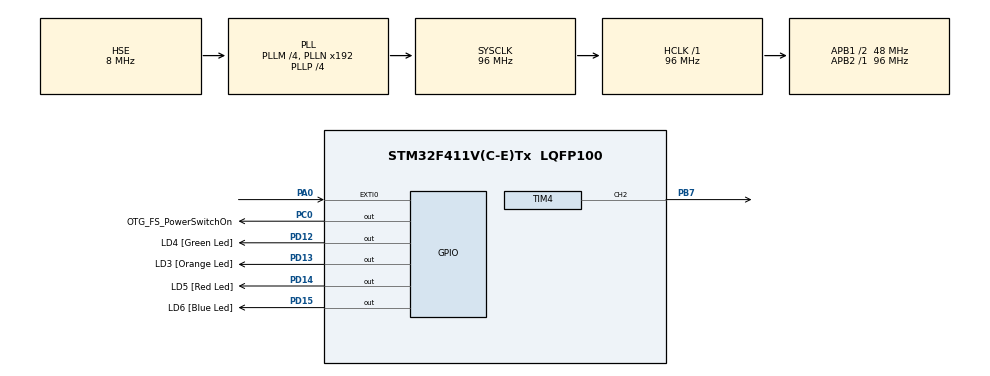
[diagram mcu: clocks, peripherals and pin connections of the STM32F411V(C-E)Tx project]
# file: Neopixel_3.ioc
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Dma.Request0=TIM4_CH2
Dma.TIM4_CH2.0.Direction=DMA_MEMORY_TO_PERIPH
Dma.TIM4_CH2.0.FIFOMode=DMA_FIFOMODE_DISABLE
Dma.TIM4_CH2.0.Instance=DMA1_Stream3
Dma.TIM4_CH2.0.MemDataAlignment=DMA_MDATAALIGN_HALFWORD
Dma.TIM4_CH2.0.MemInc=DMA_MINC_ENABLE
Dma.TIM4_CH2.0.Mode=DMA_NORMAL
Dma.TIM4_CH2.0.PeriphDataAlignment=DMA_PDATAALIGN_HALFWORD
Dma.TIM4_CH2.0.PeriphInc=DMA_PINC_DISABLE
Dma.TIM4_CH2.0.Priority=DMA_PRIORITY_HIGH
Mcu.Family=STM32F4
Mcu.Name=STM32F411V(C-E)Tx
Mcu.Package=LQFP100
NVIC.DMA1_Stream3_IRQn=true\:0\:0\:false\:false\:true\:false\:true\:true
NVIC.PriorityGroup=NVIC_PRIORITYGROUP_0
NVIC.TIM3_IRQn=true\:0\:0\:false\:false\:true\:true\:true\:true
NVIC.TIM4_IRQn=true\:0\:0\:false\:false\:true\:true\:true\:true
PA0-WKUP.GPIO_ModeDefaultEXTI=GPIO_MODE_EVT_RISING
PA0-WKUP.Signal=GPXTI0
PA13.GPIO_Label=SWDIO
PA13.Mode=Serial_Wire
PA13.Signal=SYS_JTMS-SWDIO
PA14.GPIO_Label=SWCLK
PA14.Mode=Serial_Wire
PA14.Signal=SYS_JTCK-SWCLK
PB7.Signal=S_TIM4_CH2
PC0.GPIO_Label=OTG_FS_PowerSwitchOn
PC0.PinState=GPIO_PIN_SET
PC0.Signal=GPIO_Output
PC14-OSC32_IN.GPIO_Label=PC14-OSC32_IN
PC14-OSC32_IN.Mode=LSE-External-Oscillator
PC14-OSC32_IN.Signal=RCC_OSC32_IN
PC15-OSC32_OUT.GPIO_Label=PC15-OSC32_OUT
PC15-OSC32_OUT.Mode=LSE-External-Oscillator
PC15-OSC32_OUT.Signal=RCC_OSC32_OUT
PD12.GPIO_Label=LD4 [Green Led]
PD12.GPIO_PuPd=GPIO_NOPULL
PD12.GPIO_Speed=GPIO_SPEED_FREQ_LOW
PD12.Signal=GPIO_Output
PD13.GPIO_Label=LD3 [Orange Led]
PD13.GPIO_PuPd=GPIO_NOPULL
PD13.GPIO_Speed=GPIO_SPEED_FREQ_LOW
PD13.Signal=GPIO_Output
PD14.GPIO_Label=LD5 [Red Led]
PD14.GPIO_PuPd=GPIO_NOPULL
PD14.GPIO_Speed=GPIO_SPEED_FREQ_LOW
PD14.Signal=GPIO_Output
PD15.GPIO_Label=LD6 [Blue Led]
PD15.GPIO_PuPd=GPIO_NOPULL
PD15.GPIO_Speed=GPIO_SPEED_FREQ_LOW
PD15.Signal=GPIO_Output
PH0\ -\ OSC_IN.GPIO_Label=PH0-OSC_IN
PH0\ -\ OSC_IN.Mode=HSE-External-Oscillator
PH0\ -\ OSC_IN.Signal=RCC_OSC_IN
PH1\ -\ OSC_OUT.GPIO_Label=PH1-OSC_OUT
PH1\ -\ OSC_OUT.Mode=HSE-External-Oscillator
PH1\ -\ OSC_OUT.Signal=RCC_OSC_OUT
ProjectManager.HeapSize=0x200
ProjectManager.StackSize=0x400
ProjectManager.TargetToolchain=STM32CubeIDE
RCC.48MHZClocksFreq_Value=48000000
RCC.AHBFreq_Value=96000000
RCC.APB1CLKDivider=RCC_HCLK_DIV2
RCC.APB1Freq_Value=48000000
RCC.APB1TimFreq_Value=96000000
RCC.APB2Freq_Value=96000000
RCC.APB2TimFreq_Value=96000000
RCC.CortexFreq_Value=96000000
RCC.HCLKFreq_Value=96000000
RCC.HSE_VALUE=8000000
RCC.HSI_VALUE=16000000
RCC.PLLI2SM=5
RCC.PLLI2SN=200
RCC.PLLM=4
RCC.PLLP=RCC_PLLP_DIV4
RCC.PLLQ=8
RCC.PLLSourceVirtual=RCC_PLLSOURCE_HSE
RCC.SYSCLKFreq_VALUE=96000000
RCC.SYSCLKSource=RCC_SYSCLKSOURCE_PLLCLK
RCC.VCOOutputFreq_Value=384000000
SH.S_TIM4_CH2.0=TIM4_CH2,PWM Generation2 CH2
TIM3.Period=332-1
TIM3.Prescaler=48000
TIM4.Channel-PWM\ Generation2\ CH2=TIM_CHANNEL_2
TIM4.Period=120-1
VP_TIM3_VS_ClockSourceINT.Mode=Internal
VP_TIM4_VS_ClockSourceINT.Mode=Internal
board=STM32F411E-DISCO

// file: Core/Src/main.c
/* USER CODE BEGIN Header */
/**
  ******************************************************************************
  * @file           : main.c
  * @brief          : Main program body
  ******************************************************************************
  * @attention
  *
  * Copyright (c) 2022 STMicroelectronics.
  * All rights reserved.
  *
  * This software is licensed under terms that can be found in the LICENSE file
  * in the root directory of this software component.
  * If no LICENSE file comes with this software, it is provided AS-IS.
  *
  ******************************************************************************
  */
/* USER CODE END Header */
#include "main.h"

/* USER CODE BEGIN Includes */
#include <stdio.h>
#include <stdlib.h>
#include <math.h>
/* USER CODE END Includes */

/* USER CODE BEGIN PTD */
//Defino el valor para el ciclo activo del cero y el uno
//Se escriben en el capture compare register o pulse
#define Neopixel_cero 38
#define Neopixel_uno 76
//Ahora veo la cantidad de pixels, osea ,leds, de mi matriz
#define Num_pixels 128
// Por cada uno tengo que enviar 24 bits mas 50 us de cero
#define DMA_BUFF_SIZE (Num_pixels*24+50)

//La idea es armar un arreglo de datos de 24 bits, 8 por cada color GRB, para mandar
typedef union Datos_shift
{
	//Hacer con aritmetrica de puntero
	uint32_t Datos32;
	uint16_t Datos16[2];
	uint8_t Datos8[4];
} datos;
uint8_t banda1=1;
uint8_t banda2=1;
uint8_t banda3=1;
uint8_t banda4=1;
/* USER CODE END PTD */

TIM_HandleTypeDef htim3;
TIM_HandleTypeDef htim4;
DMA_HandleTypeDef hdma_tim4_ch2;

void SystemClock_Config(void);
static void MX_GPIO_Init(void);
static void MX_DMA_Init(void);
static void MX_TIM3_Init(void);
static void MX_TIM4_Init(void);

/* USER CODE BEGIN 0 */
volatile int flag_envio_datos = 0;
/*
void HAL_TIM_PWM_PulseFinishedCallback(TIM_HandleTypeDef *htim)
{
//No lo detenemos porque eso estaba dando un error pero dejamos la funcion
//HAL_TIM_PWM_Stop_DMA (&htim1, TIM_CHANNEL_1);
	flag_envio_datos = 1;

}
*/

uint16_t pwmDatos[DMA_BUFF_SIZE] = {0};
uint8_t Datos_Pixel[Num_pixels][4];
uint8_t Datos_Pixel_F[Num_pixels][4];

//Me armo una funcion que setee cada LED por separado
void Set_Pixel(uint8_t n, uint8_t Verde, uint8_t Rojo, uint8_t Azul)
{
	Datos_Pixel[n][0] = n;
	Datos_Pixel[n][1] = Verde;
	Datos_Pixel[n][2] = Rojo;
	Datos_Pixel[n][3] = Azul;

}

//Me armo una funcion que controle el brillo
//float brillo=100; //La manejo en porcentaje
//encontre que es mejor manejarse con una funcion con curva suave. Uso la tangente

float brillo= 45;
void Set_Brillo(float brillo){
	if(brillo>45) brillo = 45;
	for(int i=0;i<Num_pixels;i++)
	{
		Datos_Pixel_F[i][0] = Datos_Pixel[i][0];
		for(int j=1;j<4;j++)
		{
			float angulo = 90 - brillo;
			angulo = angulo*3.14/180;
			Datos_Pixel_F[i][j] = Datos_Pixel[i][j]/(tan(angulo));
		}
	}

}

//Me armo una función que envíe los datos desde DMA a neopixeles

void Enviar_datos (void)
{
// Para el programa final trabajar a 24 fps
	//uint32_t datos;
	uint16_t Prueba_pwmDatos = 0;
	datos datos;
	uint16_t index = 0;

	for (int i = 0; i<Num_pixels; i++)
	{
		//si no funciona tambien deberia andar el codigo siguiente
		datos.Datos8[0]=Datos_Pixel_F[i][3];
		datos.Datos8[1]=Datos_Pixel_F[i][2];
		datos.Datos8[2]=Datos_Pixel_F[i][1];

		//datos = ((Datos_Pixel_F[i][1]<<16) | (Datos_Pixel_F[i][2]<<8)|(Datos_Pixel_F[i][3]));

		for (int i = 23; i>=0; i--)
		{

			if (datos.Datos32&(1<<i) ) pwmDatos[index] = Neopixel_uno; //ver counter&(1<<j)
			else pwmDatos[index] = Neopixel_cero;
			Prueba_pwmDatos = pwmDatos[index];
			index++;

		}

	}

	for (int i=0; i<50;i++)
	{
		pwmDatos[index] = 0;
		index++;
		Prueba_pwmDatos = pwmDatos[index];
	}

	//Envio la informacion con esta funcion de la HAL

		if(HAL_TIM_PWM_Start_DMA(&htim4, TIM_CHANNEL_2,(uint32_t *)pwmDatos,index)!=HAL_OK)
			{
			Error_Handler();
			};
/*
		while(!flag_envio_datos){}; //Cambiarlo por un if
		flag_envio_datos=0;
*/
		//Aca va la otra opcion de modificar directamente el registro "Pulse"
	/*for (int i = Num_pixels-1; i>=0;i--)
	 * {
	 *    TIM2->CCR1 = pwmDatos[i]
	 * }
	 *Tambien se puede cambiar el duty cicle de PWM con __HAL_TIM_SetCompare(__HANDLE__,__CHANNEL__;__COMPARE__)
	 *Y cambiar el periodo de PWM con __HAL_TIM_SetAutoreload(__HANBLE__,__AUTORELOAD__)
	 *
	 */
	/*
	Acordarse de cambiar la función de carga al TIM2 para PWM por DMA para hacerla por
	Interrupciones. De esa forma podemos procesar informacion durante los tiempo
	muertos de envio de datos. El HAL_TIM_PWM_Start_DMA dice que es no bloqueante
	*/
	}
//Me genero la función para las bandas del vumetro}
//Ver como es el recorrido de las luces en la matriz led, por lo que vi
//en el arcoiris estan conectados los bordes
//la comento porque no va a tener sentido todavia si no estan todos los valores
//declarados. Es para la funcion final
//Toma un valor entero sin signo para la intensidad de las bandas
void vumetro(uint8_t banda1,uint8_t banda2,uint8_t banda3,uint8_t banda4,uint8_t banda5,uint8_t banda6,uint8_t banda7,uint8_t banda8){

//void vumetro(uint8_t banda1,uint8_t banda2,uint8_t banda3,uint8_t banda4){
//Hay que tener en cuenta que cada banda del vumetro son dos de la matriz, pero
//por como se recorre una esta invertida
//colores: violeta, rosa, azul, dos verdes, amarillo, dos rojos
int numled=0;

switch(banda1){
case 1||0:
	Set_Pixel(0+numled,76,0,153);
	for(uint16_t j=1;j<=7;j++){
		Set_Pixel(j+numled,0,0,0);
	}
	Set_Pixel(8+numled,76,0,153);
	for(uint16_t j=9;j<=15;j++){
		Set_Pixel(j+numled,0,0,0);
	}
	break;
case 2:
	Set_Pixel(0+numled,0,76,153);
	Set_Pixel(1+numled,0,153,153);
	for(uint16_t j=2;j<=7;j++){
		Set_Pixel(j+numled,0,0,0);
	}
	Set_Pixel(8+numled,0,76,153);
	Set_Pixel(9+numled,0,153,153);
	for(uint16_t j=10;j<=15;j++){
		Set_Pixel(j+numled,0,0,0);
	}
	break;

case 3:
	Set_Pixel(0+numled,0,76,153);
	Set_Pixel(1+numled,0,153,153);
	Set_Pixel(2+numled,102,0,204);
	for(uint16_t j=3;j<=7;j++){
		Set_Pixel(j+numled,0,0,0);
	}
	Set_Pixel(8+numled,0,76,153);
	Set_Pixel(9+numled,0,153,153);
	Set_Pixel(10+numled,102,0,204);
	for(uint16_t j=11;j<=15;j++){
		Set_Pixel(j+numled,0,0,0);
	}
	break;
case 4:
	Set_Pixel(0+numled,0,76,153);
	Set_Pixel(1+numled,0,153,153);
	Set_Pixel(2+numled,102,0,204);
	Set_Pixel(3+numled,204,0,0);
	for(uint16_t j=4;j<=7;j++){
		Set_Pixel(j+numled,0,0,0);
	}
	Set_Pixel(8+numled,0,76,153);
	Set_Pixel(9+numled,0,153,153);
	Set_Pixel(10+numled,102,0,204);
	Set_Pixel(11+numled,204,0,0);
	for(uint16_t j=12;j<=15;j++){
		Set_Pixel(j+numled,0,0,0);
	}
	break;
case 5:
	Set_Pixel(0+numled,0,76,153);
	Set_Pixel(1+numled,0,153,153);
	Set_Pixel(2+numled,102,0,204);
	Set_Pixel(3+numled,204,0,0);
	Set_Pixel(4+numled,204,0,0);
	for(uint16_t j=5;j<=7;j++){
		Set_Pixel(j+numled,0,0,0);
	}
	Set_Pixel(8+numled,0,76,153);
	Set_Pixel(9+numled,0,153,153);
	Set_Pixel(10+numled,102,0,204);
	Set_Pixel(11+numled,204,0,0);
	Set_Pixel(12+numled,204,0,0);
	for(uint16_t j=13;j<=15;j++){
		Set_Pixel(j+numled,0,0,0);
	}
	break;
case 6:
	Set_Pixel(0+numled,0,76,153);
	Set_Pixel(1+numled,0,153,153);
	Set_Pixel(2+numled,102,0,204);
	Set_Pixel(3+numled,204,0,0);
	Set_Pixel(4+numled,204,0,0);
	Set_Pixel(5+numled,255,255,51);
	for(uint16_t j=6;j<=7;j++){
		Set_Pixel(j+numled,0,0,0);
	}
	Set_Pixel(8+numled,0,76,153);
	Set_Pixel(9+numled,0,153,153);
	Set_Pixel(10+numled,102,0,204);
	Set_Pixel(11+numled,204,0,0);
	Set_Pixel(12+numled,204,0,0);
	Set_Pixel(13+numled,255,255,51);
	for(uint16_t j=14;j<=15;j++){
		Set_Pixel(j+numled,0,0,0);
	}
	break;
case 7:
	Set_Pixel(0+numled,0,76,153);
	Set_Pixel(1+numled,0,153,153);
	Set_Pixel(2+numled,102,0,204);
	Set_Pixel(3+numled,204,0,0);
	Set_Pixel(4+numled,204,0,0);
	Set_Pixel(5+numled,255,255,51);
	Set_Pixel(6+numled,0,204,0);
	Set_Pixel(7+numled,0,0,0);
	Set_Pixel(8+numled,0,76,153);
	Set_Pixel(9+numled,0,153,153);
	Set_Pixel(10+numled,102,0,204);
	Set_Pixel(11+numled,204,0,0);
	Set_Pixel(12+numled,204,0,0);
	Set_Pixel(13+numled,255,255,51);
	Set_Pixel(14+numled,0,204,0);
	Set_Pixel(15+numled,0,0,0);
	break;
default:
	Set_Pixel(0+numled,0,76,153);
	Set_Pixel(1+numled,0,153,153);
	Set_Pixel(2+numled,102,0,204);
	Set_Pixel(3+numled,204,0,0);
	Set_Pixel(4+numled,204,0,0);
	Set_Pixel(5+numled,255,255,51);
	Set_Pixel(6+numled,0,204,0);
	Set_Pixel(7+numled,0,204,0);
	Set_Pixel(8+numled,0,76,153);
	Set_Pixel(9+numled,0,153,153);
	Set_Pixel(10+numled,102,0,204);
	Set_Pixel(11+numled,204,0,0);
	Set_Pixel(12+numled,204,0,0);
	Set_Pixel(13+numled,255,255,51);
	Set_Pixel(14+numled,0,204,0);
	Set_Pixel(15+numled,0,204,0);
	break;
}

numled=16;
switch(banda2){
case 1||0:
	Set_Pixel(0+numled,76,0,153);
	for(uint16_t j=1;j<=7;j++){
		Set_Pixel(j+numled,0,0,0);
	}
	Set_Pixel(8+numled,76,0,153);
	for(uint16_t j=9;j<=15;j++){
		Set_Pixel(j+numled,0,0,0);
	}
	break;
case 2:
	Set_Pixel(0+numled,0,76,153);
	Set_Pixel(1+numled,0,153,153);
	for(uint16_t j=2;j<=7;j++){
		Set_Pixel(j+numled,0,0,0);
	}
	Set_Pixel(8+numled,0,76,153);
	Set_Pixel(9+numled,0,153,153);
	for(uint16_t j=10;j<=15;j++){
		Set_Pixel(j+numled,0,0,0);
	}
	break;

case 3:
	Set_Pixel(0+numled,0,76,153);
	Set_Pixel(1+numled,0,153,153);
	Set_Pixel(2+numled,102,0,204);
	for(uint16_t j=3;j<=7;j++){
		Set_Pixel(j+numled,0,0,0);
	}
	Set_Pixel(8+numled,0,76,153);
	Set_Pixel(9+numled,0,153,153);
	Set_Pixel(10+numled,102,0,204);
	for(uint16_t j=11;j<=15;j++){
		Set_Pixel(j+numled,0,0,0);
	}
	break;
case 4:
	Set_Pixel(0+numled,0,76,153);
	Set_Pixel(1+numled,0,153,153);
	Set_Pixel(2+numled,102,0,204);
	Set_Pixel(3+numled,204,0,0);
	for(uint16_t j=4;j<=7;j++){
		Set_Pixel(j+numled,0,0,0);
	}
	Set_Pixel(8+numled,0,76,153);
	Set_Pixel(9+numled,0,153,153);
	Set_Pixel(10+numled,102,0,204);
	Set_Pixel(11+numled,204,0,0);
	for(uint16_t j=12;j<=15;j++){
		Set_Pixel(j+numled,0,0,0);
	}
	break;
case 5:
	Set_Pixel(0+numled,0,76,153);
	Set_Pixel(1+numled,0,153,153);
	Set_Pixel(2+numled,102,0,204);
	Set_Pixel(3+numled,204,0,0);
	Set_Pixel(4+numled,204,0,0);
	for(uint16_t j=5;j<=7;j++){
		Set_Pixel(j+numled,0,0,0);
	}
	Set_Pixel(8+numled,0,76,153);
	Set_Pixel(9+numled,0,153,153);
	Set_Pixel(10+numled,102,0,204);
	Set_Pixel(11+numled,204,0,0);
	Set_Pixel(12+numled,204,0,0);
	for(uint16_t j=13;j<=15;j++){
		Set_Pixel(j+numled,0,0,0);
	}
	break;
case 6:
	Set_Pixel(0+numled,0,76,153);
	Set_Pixel(1+numled,0,153,153);
	Set_Pixel(2+numled,102,0,204);
	Set_Pixel(3+numled,204,0,0);
	Set_Pixel(4+numled,204,0,0);
	Set_Pixel(5+numled,255,255,51);
	for(uint16_t j=6;j<=7;j++){
		Set_Pixel(j+numled,0,0,0);
	}
	Set_Pixel(8+numled,0,76,153);
	Set_Pixel(9+numled,0,153,153);
	Set_Pixel(10+numled,102,0,204);
	Set_Pixel(11+numled,204,0,0);
	Set_Pixel(12+numled,204,0,0);
	Set_Pixel(13+numled,255,255,51);
	for(uint16_t j=14;j<=15;j++){
		Set_Pixel(j+numled,0,0,0);
	}
	break;
case 7:
	Set_Pixel(0+numled,0,76,153);
	Set_Pixel(1+numled,0,153,153);
	Set_Pixel(2+numled,102,0,204);
	Set_Pixel(3+numled,204,0,0);
	Set_Pixel(4+numled,204,0,0);
	Set_Pixel(5+numled,255,255,51);
	Set_Pixel(6+numled,0,204,0);
	Set_Pixel(7+numled,0,0,0);
	Set_Pixel(8+numled,0,76,153);
	Set_Pixel(9+numled,0,153,153);
	Set_Pixel(10+numled,102,0,204);
	Set_Pixel(11+numled,204,0,0);
	Set_Pixel(12+numled,204,0,0);
	Set_Pixel(13+numled,255,255,51);
	Set_Pixel(14+numled,0,204,0);
	Set_Pixel(15+numled,0,0,0);
	break;
default:
	Set_Pixel(0+numled,0,76,153);
	Set_Pixel(1+numled,0,153,153);
	Set_Pixel(2+numled,102,0,204);
	Set_Pixel(3+numled,204,0,0);
	Set_Pixel(4+numled,204,0,0);
	Set_Pixel(5+numled,255,255,51);
	Set_Pixel(6+numled,0,204,0);
	Set_Pixel(7+numled,0,204,0);
	Set_Pixel(8+numled,0,76,153);
	Set_Pixel(9+numled,0,153,153);
	Set_Pixel(10+numled,102,0,204);
	Set_Pixel(11+numled,204,0,0);
	Set_Pixel(12+numled,204,0,0);
	Set_Pixel(13+numled,255,255,51);
	Set_Pixel(14+numled,0,204,0);
	Set_Pixel(15+numled,0,204,0);
	break;
}

numled=32;
switch(banda3){
case 1||0:
	Set_Pixel(0+numled,76,0,153);
	for(uint16_t j=1;j<=7;j++){
		Set_Pixel(j+numled,0,0,0);
	}
	Set_Pixel(8+numled,76,0,153);
	for(uint16_t j=9;j<=15;j++){
		Set_Pixel(j+numled,0,0,0);
	}
	break;
case 2:
	Set_Pixel(0+numled,0,76,153);
	Set_Pixel(1+numled,0,153,153);
	for(uint16_t j=2;j<=7;j++){
		Set_Pixel(j+numled,0,0,0);
	}
	Set_Pixel(8+numled,0,76,153);
	Set_Pixel(9+numled,0,153,153);
	for(uint16_t j=10;j<=15;j++){
		Set_Pixel(j+numled,0,0,0);
	}
	break;

case 3:
	Set_Pixel(0+numled,0,76,153);
	Set_Pixel(1+numled,0,153,153);
	Set_Pixel(2+numled,102,0,204);
	for(uint16_t j=3;j<=7;j++){
		Set_Pixel(j+numled,0,0,0);
	}
	Set_Pixel(8+numled,0,76,153);
	Set_Pixel(9+numled,0,153,153);
	Set_Pixel(10+numled,102,0,204);
	for(uint16_t j=11;j<=15;j++){
		Set_Pixel(j+numled,0,0,0);
	}
	break;
case 4:
	Set_Pixel(0+numled,0,76,153);
	Set_Pixel(1+numled,0,153,153);
	Set_Pixel(2+numled,102,0,204);
	Set_Pixel(3+numled,204,0,0);
	for(uint16_t j=4;j<=7;j++){
		Set_Pixel(j+numled,0,0,0);
	}
	Set_Pixel(8+numled,0,76,153);
	Set_Pixel(9+numled,0,153,153);
	Set_Pixel(10+numled,102,0,204);
	Set_Pixel(11+numled,204,0,0);
	for(uint16_t j=12;j<=15;j++){
		Set_Pixel(j+numled,0,0,0);
	}
	break;
case 5:
	Set_Pixel(0+numled,0,76,153);
	Set_Pixel(1+numled,0,153,153);
	Set_Pixel(2+numled,102,0,204);
	Set_Pixel(3+numled,204,0,0);
	Set_Pixel(4+numled,204,0,0);
	for(uint16_t j=5;j<=7;j++){
		Set_Pixel(j+numled,0,0,0);
	}
	Set_Pixel(8+numled,0,76,153);
	Set_Pixel(9+numled,0,153,153);
	Set_Pixel(10+numled,102,0,204);
	Set_Pixel(11+numled,204,0,0);
	Set_Pixel(12+numled,204,0,0);
	for(uint16_t j=13;j<=15;j++){
		Set_Pixel(j+numled,0,0,0);
	}
	break;
case 6:
	Set_Pixel(0+numled,0,76,153);
	Set_Pixel(1+numled,0,153,153);
	Set_Pixel(2+numled,102,0,204);
	Set_Pixel(3+numled,204,0,0);
	Set_Pixel(4+numled,204,0,0);
	Set_Pixel(5+numled,255,255,51);
	for(uint16_t j=6;j<=7;j++){
		Set_Pixel(j+numled,0,0,0);
	}
	Set_Pixel(8+numled,0,76,153);
	Set_Pixel(9+numled,0,153,153);
	Set_Pixel(10+numled,102,0,204);
	Set_Pixel(11+numled,204,0,0);
	Set_Pixel(12+numled,204,0,0);
	Set_Pixel(13+numled,255,255,51);
	for(uint16_t j=14;j<=15;j++){
		Set_Pixel(j+numled,0,0,0);
	}
	break;
case 7:
	Set_Pixel(0+numled,0,76,153);
	Set_Pixel(1+numled,0,153,153);
	Set_Pixel(2+numled,102,0,204);
	Set_Pixel(3+numled,204,0,0);
	Set_Pixel(4+numled,204,0,0);
	Set_Pixel(5+numled,255,255,51);
	Set_Pixel(6+numled,0,204,0);
	Set_Pixel(7+numled,0,0,0);
	Set_Pixel(8+numled,0,76,153);
	Set_Pixel(9+numled,0,153,153);
	Set_Pixel(10+numled,102,0,204);
	Set_Pixel(11+numled,204,0,0);
	Set_Pixel(12+numled,204,0,0);
	Set_Pixel(13+numled,255,255,51);
	Set_Pixel(14+numled,0,204,0);
	Set_Pixel(15+numled,0,0,0);
	break;
default:
	Set_Pixel(0+numled,0,76,153);
	Set_Pixel(1+numled,0,153,153);
	Set_Pixel(2+numled,102,0,204);
	Set_Pixel(3+numled,204,0,0);
	Set_Pixel(4+numled,204,0,0);
	Set_Pixel(5+numled,255,255,51);
	Set_Pixel(6+numled,0,204,0);
	Set_Pixel(7+numled,0,204,0);
	Set_Pixel(8+numled,0,76,153);
	Set_Pixel(9+numled,0,153,153);
	Set_Pixel(10+numled,102,0,204);
	Set_Pixel(11+numled,204,0,0);
	Set_Pixel(12+numled,204,0,0);
	Set_Pixel(13+numled,255,255,51);
	Set_Pixel(14+numled,0,204,0);
	Set_Pixel(15+numled,0,204,0);
	break;
}

numled=48;
switch(banda4){
case 1||0:
	Set_Pixel(0+numled,76,0,153);
	for(uint16_t j=1;j<=7;j++){
		Set_Pixel(j+numled,0,0,0);
	}
	Set_Pixel(8+numled,76,0,153);
	for(uint16_t j=9;j<=15;j++){
		Set_Pixel(j+numled,0,0,0);
	}
	break;
case 2:
	Set_Pixel(0+numled,0,76,153);
	Set_Pixel(1+numled,0,153,153);
	for(uint16_t j=2;j<=7;j++){
		Set_Pixel(j+numled,0,0,0);
	}
	Set_Pixel(8+numled,0,76,153);
	Set_Pixel(9+numled,0,153,153);
	for(uint16_t j=10;j<=15;j++){
		Set_Pixel(j+numled,0,0,0);
	}
	break;

case 3:
	Set_Pixel(0+numled,0,76,153);
	Set_Pixel(1+numled,0,153,153);
	Set_Pixel(2+numled,102,0,204);
	for(uint16_t j=3;j<=7;j++){
		Set_Pixel(j+numled,0,0,0);
	}
	Set_Pixel(8+numled,0,76,153);
	Set_Pixel(9+numled,0,153,153);
	Set_Pixel(10+numled,102,0,204);
	for(uint16_t j=11;j<=15;j++){
		Set_Pixel(j+numled,0,0,0);
	}
	break;
case 4:
	Set_Pixel(0+numled,0,76,153);
	Set_Pixel(1+numled,0,153,153);
	Set_Pixel(2+numled,102,0,204);
	Set_Pixel(3+numled,204,0,0);
	for(uint16_t j=4;j<=7;j++){
		Set_Pixel(j+numled,0,0,0);
	}
	Set_Pixel(8+numled,0,76,153);
	Set_Pixel(9+numled,0,153,153);
	Set_Pixel(10+numled,102,0,204);
	Set_Pixel(11+numled,204,0,0);
	for(uint16_t j=12;j<=15;j++){
		Set_Pixel(j+numled,0,0,0);
	}
	break;
case 5:
	Set_Pixel(0+numled,0,76,153);
	Set_Pixel(1+numled,0,153,153);
	Set_Pixel(2+numled,102,0,204);
	Set_Pixel(3+numled,204,0,0);
	Set_Pixel(4+numled,204,0,0);
	for(uint16_t j=5;j<=7;j++){
		Set_Pixel(j+numled,0,0,0);
	}
	Set_Pixel(8+numled,0,76,153);
	Set_Pixel(9+numled,0,153,153);
	Set_Pixel(10+numled,102,0,204);
	Set_Pixel(11+numled,204,0,0);
	Set_Pixel(12+numled,204,0,0);
	for(uint16_t j=13;j<=15;j++){
		Set_Pixel(j+numled,0,0,0);
	}
	break;
case 6:
	Set_Pixel(0+numled,0,76,153);
	Set_Pixel(1+numled,0,153,153);
	Set_Pixel(2+numled,102,0,204);
	Set_Pixel(3+numled,204,0,0);
	Set_Pixel(4+numled,204,0,0);
	Set_Pixel(5+numled,255,255,51);
	for(uint16_t j=6;j<=7;j++){
		Set_Pixel(j+numled,0,0,0);
	}
	Set_Pixel(8+numled,0,76,153);
	Set_Pixel(9+numled,0,153,153);
	Set_Pixel(10+numled,102,0,204);
	Set_Pixel(11+numled,204,0,0);
	Set_Pixel(12+numled,204,0,0);
	Set_Pixel(13+numled,255,255,51);
	for(uint16_t j=14;j<=15;j++){
		Set_Pixel(j+numled,0,0,0);
	}
	break;
case 7:
	Set_Pixel(0+numled,0,76,153);
	Set_Pixel(1+numled,0,153,153);
	Set_Pixel(2+numled,102,0,204);
	Set_Pixel(3+numled,204,0,0);
	Set_Pixel(4+numled,204,0,0);
	Set_Pixel(5+numled,255,255,51);
	Set_Pixel(6+numled,0,204,0);
	Set_Pixel(7+numled,0,0,0);
	Set_Pixel(8+numled,0,76,153);
	Set_Pixel(9+numled,0,153,153);
	Set_Pixel(10+numled,102,0,204);
	Set_Pixel(11+numled,204,0,0);
	Set_Pixel(12+numled,204,0,0);
	Set_Pixel(13+numled,255,255,51);
	Set_Pixel(14+numled,0,204,0);
	Set_Pixel(15+numled,0,0,0);
	break;
default:
	Set_Pixel(0+numled,0,76,153);
	Set_Pixel(1+numled,0,153,153);
	Set_Pixel(2+numled,102,0,204);
	Set_Pixel(3+numled,204,0,0);
	Set_Pixel(4+numled,204,0,0);
	Set_Pixel(5+numled,255,255,51);
	Set_Pixel(6+numled,0,204,0);
	Set_Pixel(7+numled,0,204,0);
	Set_Pixel(8+numled,0,76,153);
	Set_Pixel(9+numled,0,153,153);
	Set_Pixel(10+numled,102,0,204);
	Set_Pixel(11+numled,204,0,0);
	Set_Pixel(12+numled,204,0,0);
	Set_Pixel(13+numled,255,255,51);
	Set_Pixel(14+numled,0,204,0);
	Set_Pixel(15+numled,0,204,0);
	break;
}

numled=64;
switch(banda5){
case 1:
	Set_Pixel(0+numled,76,0,153);
	for(uint16_t j=1;j<=7;j++){
		Set_Pixel(j+numled,0,0,0);
	}
	Set_Pixel(8+numled,76,0,153);
	for(uint16_t j=9;j<=15;j++){
		Set_Pixel(j+numled,0,0,0);
	}
	break;
case 2:
	Set_Pixel(0+numled,0,76,153);
	Set_Pixel(1+numled,0,153,153);
	for(uint16_t j=2;j<=7;j++){
		Set_Pixel(j+numled,0,0,0);
	}
	Set_Pixel(8+numled,0,76,153);
	Set_Pixel(9+numled,0,153,153);
	for(uint16_t j=10;j<=15;j++){
		Set_Pixel(j+numled,0,0,0);
	}
	break;

case 3:
	Set_Pixel(0+numled,0,76,153);
	Set_Pixel(1+numled,0,153,153);
	Set_Pixel(2+numled,102,0,204);
	for(uint16_t j=3;j<=7;j++){
		Set_Pixel(j+numled,0,0,0);
	}
	Set_Pixel(8+numled,0,76,153);
	Set_Pixel(9+numled,0,153,153);
	Set_Pixel(10+numled,102,0,204);
	for(uint16_t j=11;j<=15;j++){
		Set_Pixel(j+numled,0,0,0);
	}
	break;
case 4:
	Set_Pixel(0+numled,0,76,153);
	Set_Pixel(1+numled,0,153,153);
	Set_Pixel(2+numled,102,0,204);
	Set_Pixel(3+numled,204,0,0);
	for(uint16_t j=4;j<=7;j++){
		Set_Pixel(j+numled,0,0,0);
	}
	Set_Pixel(8+numled,0,76,153);
	Set_Pixel(9+numled,0,153,153);
	Set_Pixel(10+numled,102,0,204);
	Set_Pixel(11+numled,204,0,0);
	for(uint16_t j=12;j<=15;j++){
		Set_Pixel(j+numled,0,0,0);
	}
	break;
case 5:
	Set_Pixel(0+numled,0,76,153);
	Set_Pixel(1+numled,0,153,153);
	Set_Pixel(2+numled,102,0,204);
	Set_Pixel(3+numled,204,0,0);
	Set_Pixel(4+numled,204,0,0);
	for(uint16_t j=5;j<=7;j++){
		Set_Pixel(j+numled,0,0,0);
	}
	Set_Pixel(8+numled,0,76,153);
	Set_Pixel(9+numled,0,153,153);
	Set_Pixel(10+numled,102,0,204);
	Set_Pixel(11+numled,204,0,0);
	Set_Pixel(12+numled,204,0,0);
	for(uint16_t j=13;j<=15;j++){
		Set_Pixel(j+numled,0,0,0);
	}
	break;
case 6:
	Set_Pixel(0+numled,0,76,153);
	Set_Pixel(1+numled,0,153,153);
	Set_Pixel(2+numled,102,0,204);
	Set_Pixel(3+numled,204,0,0);
	Set_Pixel(4+numled,204,0,0);
	Set_Pixel(5+numled,255,255,51);
	for(uint16_t j=6;j<=7;j++){
		Set_Pixel(j+numled,0,0,0);
	}
	Set_Pixel(8+numled,0,76,153);
	Set_Pixel(9+numled,0,153,153);
	Set_Pixel(10+numled,102,0,204);
	Set_Pixel(11+numled,204,0,0);
	Set_Pixel(12+numled,204,0,0);
	Set_Pixel(13+numled,255,255,51);
	for(uint16_t j=14;j<=15;j++){
		Set_Pixel(j+numled,0,0,0);
	}
	break;
case 7:
	Set_Pixel(0+numled,0,76,153);
	Set_Pixel(1+numled,0,153,153);
	Set_Pixel(2+numled,102,0,204);
	Set_Pixel(3+numled,204,0,0);
	Set_Pixel(4+numled,204,0,0);
	Set_Pixel(5+numled,255,255,51);
	Set_Pixel(6+numled,0,204,0);
	Set_Pixel(7+numled,0,0,0);
	Set_Pixel(8+numled,0,76,153);
	Set_Pixel(9+numled,0,153,153);
	Set_Pixel(10+numled,102,0,204);
	Set_Pixel(11+numled,204,0,0);
	Set_Pixel(12+numled,204,0,0);
	Set_Pixel(13+numled,255,255,51);
	Set_Pixel(14+numled,0,204,0);
	Set_Pixel(15+numled,0,0,0);
	break;
case 8:
	Set_Pixel(0+numled,0,76,153);
	Set_Pixel(1+numled,0,153,153);
	Set_Pixel(2+numled,102,0,204);
	Set_Pixel(3+numled,204,0,0);
	Set_Pixel(4+numled,204,0,0);
	Set_Pixel(5+numled,255,255,51);
	Set_Pixel(6+numled,0,204,0);
	Set_Pixel(7+numled,0,204,0);
	Set_Pixel(8+numled,0,76,153);
	Set_Pixel(9+numled,0,153,153);
	Set_Pixel(10+numled,102,0,204);
	Set_Pixel(11+numled,204,0,0);
	Set_Pixel(12+numled,204,0,0);
	Set_Pixel(13+numled,255,255,51);
	Set_Pixel(14+numled,0,204,0);
	Set_Pixel(15+numled,0,204,0);
	break;
}

numled=80;
switch(banda6){
case 1:
	Set_Pixel(0+numled,76,0,153);
	for(uint16_t j=1;j<=7;j++){
		Set_Pixel(j+numled,0,0,0);
	}
	Set_Pixel(8+numled,76,0,153);
	for(uint16_t j=9;j<=15;j++){
		Set_Pixel(j+numled,0,0,0);
	}
	break;
case 2:
	Set_Pixel(0+numled,0,76,153);
	Set_Pixel(1+numled,0,153,153);
	for(uint16_t j=2;j<=7;j++){
		Set_Pixel(j+numled,0,0,0);
	}
	Set_Pixel(8+numled,0,76,153);
	Set_Pixel(9+numled,0,153,153);
	for(uint16_t j=10;j<=15;j++){
		Set_Pixel(j+numled,0,0,0);
	}
	break;

case 3:
	Set_Pixel(0+numled,0,76,153);
	Set_Pixel(1+numled,0,153,153);
	Set_Pixel(2+numled,102,0,204);
	for(uint16_t j=3;j<=7;j++){
		Set_Pixel(j+numled,0,0,0);
	}
	Set_Pixel(8+numled,0,76,153);
	Set_Pixel(9+numled,0,153,153);
	Set_Pixel(10+numled,102,0,204);
	for(uint16_t j=11;j<=15;j++){
		Set_Pixel(j+numled,0,0,0);
	}
	break;
case 4:
	Set_Pixel(0+numled,0,76,153);
	Set_Pixel(1+numled,0,153,153);
	Set_Pixel(2+numled,102,0,204);
	Set_Pixel(3+numled,204,0,0);
	for(uint16_t j=4;j<=7;j++){
		Set_Pixel(j+numled,0,0,0);
	}
	Set_Pixel(8+numled,0,76,153);
	Set_Pixel(9+numled,0,153,153);
	Set_Pixel(10+numled,102,0,204);
	Set_Pixel(11+numled,204,0,0);
	for(uint16_t j=12;j<=15;j++){
		Set_Pixel(j+numled,0,0,0);
	}
	break;
case 5:
	Set_Pixel(0+numled,0,76,153);
	Set_Pixel(1+numled,0,153,153);
	Set_Pixel(2+numled,102,0,204);
	Set_Pixel(3+numled,204,0,0);
	Set_Pixel(4+numled,204,0,0);
	for(uint16_t j=5;j<=7;j++){
		Set_Pixel(j+numled,0,0,0);
	}
	Set_Pixel(8+numled,0,76,153);
	Set_Pixel(9+numled,0,153,153);
	Set_Pixel(10+numled,102,0,204);
	Set_Pixel(11+numled,204,0,0);
	Set_Pixel(12+numled,204,0,0);
	for(uint16_t j=13;j<=15;j++){
		Set_Pixel(j+numled,0,0,0);
	}
	break;
case 6:
	Set_Pixel(0+numled,0,76,153);
	Set_Pixel(1+numled,0,153,153);
	Set_Pixel(2+numled,102,0,204);
	Set_Pixel(3+numled,204,0,0);
	Set_Pixel(4+numled,204,0,0);
	Set_Pixel(5+numled,255,255,51);
	for(uint16_t j=6;j<=7;j++){
		Set_Pixel(j+numled,0,0,0);
	}
	Set_Pixel(8+numled,0,76,153);
	Set_Pixel(9+numled,0,153,153);
	Set_Pixel(10+numled,102,0,204);
	Set_Pixel(11+numled,204,0,0);
	Set_Pixel(12+numled,204,0,0);
	Set_Pixel(13+numled,255,255,51);
	for(uint16_t j=14;j<=15;j++){
		Set_Pixel(j+numled,0,0,0);
	}
	break;
case 7:
	Set_Pixel(0+numled,0,76,153);
	Set_Pixel(1+numled,0,153,153);
	Set_Pixel(2+numled,102,0,204);
	Set_Pixel(3+numled,204,0,0);
	Set_Pixel(4+numled,204,0,0);
	Set_Pixel(5+numled,255,255,51);
	Set_Pixel(6+numled,0,204,0);
	Set_Pixel(7+numled,0,0,0);
	Set_Pixel(8+numled,0,76,153);
	Set_Pixel(9+numled,0,153,153);
	Set_Pixel(10+numled,102,0,204);
	Set_Pixel(11+numled,204,0,0);
	Set_Pixel(12+numled,204,0,0);
	Set_Pixel(13+numled,255,255,51);
	Set_Pixel(14+numled,0,204,0);
	Set_Pixel(15+numled,0,0,0);
	break;
case 8:
	Set_Pixel(0+numled,0,76,153);
	Set_Pixel(1+numled,0,153,153);
	Set_Pixel(2+numled,102,0,204);
	Set_Pixel(3+numled,204,0,0);
	Set_Pixel(4+numled,204,0,0);
	Set_Pixel(5+numled,255,255,51);
	Set_Pixel(6+numled,0,204,0);
	Set_Pixel(7+numled,0,204,0);
	Set_Pixel(8+numled,0,76,153);
	Set_Pixel(9+numled,0,153,153);
	Set_Pixel(10+numled,102,0,204);
	Set_Pixel(11+numled,204,0,0);
	Set_Pixel(12+numled,204,0,0);
	Set_Pixel(13+numled,255,255,51);
	Set_Pixel(14+numled,0,204,0);
	Set_Pixel(15+numled,0,204,0);
	break;
}

numled=96;
switch(banda7){
case 1:
	Set_Pixel(0+numled,76,0,153);
	for(uint16_t j=1;j<=7;j++){
		Set_Pixel(j+numled,0,0,0);
	}
	Set_Pixel(8+numled,76,0,153);
	for(uint16_t j=9;j<=15;j++){
		Set_Pixel(j+numled,0,0,0);
	}
	break;
case 2:
	Set_Pixel(0+numled,0,76,153);
	Set_Pixel(1+numled,0,153,153);
	for(uint16_t j=2;j<=7;j++){
		Set_Pixel(j+numled,0,0,0);
	}
	Set_Pixel(8+numled,0,76,153);
	Set_Pixel(9+numled,0,153,153);
	for(uint16_t j=10;j<=15;j++){
		Set_Pixel(j+numled,0,0,0);
	}
	break;

case 3:
	Set_Pixel(0+numled,0,76,153);
	Set_Pixel(1+numled,0,153,153);
	Set_Pixel(2+numled,102,0,204);
	for(uint16_t j=3;j<=7;j++){
		Set_Pixel(j+numled,0,0,0);
	}
	Set_Pixel(8+numled,0,76,153);
	Set_Pixel(9+numled,0,153,153);
	Set_Pixel(10+numled,102,0,204);
	for(uint16_t j=11;j<=15;j++){
		Set_Pixel(j+numled,0,0,0);
	}
	break;
case 4:
	Set_Pixel(0+numled,0,76,153);
	Set_Pixel(1+numled,0,153,153);
	Set_Pixel(2+numled,102,0,204);
	Set_Pixel(3+numled,204,0,0);
	for(uint16_t j=4;j<=7;j++){
		Set_Pixel(j+numled,0,0,0);
	}
	Set_Pixel(8+numled,0,76,153);
	Set_Pixel(9+numled,0,153,153);
	Set_Pixel(10+numled,102,0,204);
	Set_Pixel(11+numled,204,0,0);
	for(uint16_t j=12;j<=15;j++){
		Set_Pixel(j+numled,0,0,0);
	}
	break;
case 5:
	Set_Pixel(0+numled,0,76,153);
	Set_Pixel(1+numled,0,153,153);
	Set_Pixel(2+numled,102,0,204);
	Set_Pixel(3+numled,204,0,0);
	Set_Pixel(4+numled,204,0,0);
	for(uint16_t j=5;j<=7;j++){
		Set_Pixel(j+numled,0,0,0);
	}
	Set_Pixel(8+numled,0,76,153);
	Set_Pixel(9+numled,0,153,153);
	Set_Pixel(10+numled,102,0,204);
	Set_Pixel(11+numled,204,0,0);
	Set_Pixel(12+numled,204,0,0);
	for(uint16_t j=13;j<=15;j++){
		Set_Pixel(j+numled,0,0,0);
	}
	break;
case 6:
	Set_Pixel(0+numled,0,76,153);
	Set_Pixel(1+numled,0,153,153);
	Set_Pixel(2+numled,102,0,204);
	Set_Pixel(3+numled,204,0,0);
	Set_Pixel(4+numled,204,0,0);
	Set_Pixel(5+numled,255,255,51);
	for(uint16_t j=6;j<=7;j++){
		Set_Pixel(j+numled,0,0,0);
	}
	Set_Pixel(8+numled,0,76,153);
	Set_Pixel(9+numled,0,153,153);
	Set_Pixel(10+numled,102,0,204);
	Set_Pixel(11+numled,204,0,0);
	Set_Pixel(12+numled,204,0,0);
	Set_Pixel(13+numled,255,255,51);
	for(uint16_t j=14;j<=15;j++){
		Set_Pixel(j+numled,0,0,0);
	}
	break;
case 7:
	Set_Pixel(0+numled,0,76,153);
	Set_Pixel(1+numled,0,153,153);
	Set_Pixel(2+numled,102,0,204);
	Set_Pixel(3+numled,204,0,0);
	Set_Pixel(4+numled,204,0,0);
	Set_Pixel(5+numled,255,255,51);
	Set_Pixel(6+numled,0,204,0);
	Set_Pixel(7+numled,0,0,0);
	Set_Pixel(8+numled,0,76,153);
	Set_Pixel(9+numled,0,153,153);
	Set_Pixel(10+numled,102,0,204);
	Set_Pixel(11+numled,204,0,0);
	Set_Pixel(12+numled,204,0,0);
	Set_Pixel(13+numled,255,255,51);
	Set_Pixel(14+numled,0,204,0);
	Set_Pixel(15+numled,0,0,0);
	break;
case 8:
	Set_Pixel(0+numled,0,76,153);
	Set_Pixel(1+numled,0,153,153);
	Set_Pixel(2+numled,102,0,204);
	Set_Pixel(3+numled,204,0,0);
	Set_Pixel(4+numled,204,0,0);
	Set_Pixel(5+numled,255,255,51);
	Set_Pixel(6+numled,0,204,0);
	Set_Pixel(7+numled,0,204,0);
	Set_Pixel(8+numled,0,76,153);
	Set_Pixel(9+numled,0,153,153);
	Set_Pixel(10+numled,102,0,204);
	Set_Pixel(11+numled,204,0,0);
	Set_Pixel(12+numled,204,0,0);
	Set_Pixel(13+numled,255,255,51);
	Set_Pixel(14+numled,0,204,0);
	Set_Pixel(15+numled,0,204,0);
	break;
}

numled=112;
switch(banda8){
case 1:
	Set_Pixel(0+numled,76,0,153);
	for(uint16_t j=1;j<=7;j++){
		Set_Pixel(j+numled,0,0,0);
	}
	Set_Pixel(8+numled,76,0,153);
	for(uint16_t j=9;j<=15;j++){
		Set_Pixel(j+numled,0,0,0);
	}
	break;
case 2:
	Set_Pixel(0+numled,0,76,153);
	Set_Pixel(1+numled,0,153,153);
	for(uint16_t j=2;j<=7;j++){
		Set_Pixel(j+numled,0,0,0);
	}
	Set_Pixel(8+numled,0,76,153);
	Set_Pixel(9+numled,0,153,153);
	for(uint16_t j=10;j<=15;j++){
		Set_Pixel(j+numled,0,0,0);
	}
	break;

case 3:
	Set_Pixel(0+numled,0,76,153);
	Set_Pixel(1+numled,0,153,153);
	Set_Pixel(2+numled,102,0,204);
	for(uint16_t j=3;j<=7;j++){
		Set_Pixel(j+numled,0,0,0);
	}
	Set_Pixel(8+numled,0,76,153);
	Set_Pixel(9+numled,0,153,153);
	Set_Pixel(10+numled,102,0,204);
	for(uint16_t j=11;j<=15;j++){
		Set_Pixel(j+numled,0,0,0);
	}
	break;
case 4:
	Set_Pixel(0+numled,0,76,153);
	Set_Pixel(1+numled,0,153,153);
	Set_Pixel(2+numled,102,0,204);
	Set_Pixel(3+numled,204,0,0);
	for(uint16_t j=4;j<=7;j++){
		Set_Pixel(j+numled,0,0,0);
	}
	Set_Pixel(8+numled,0,76,153);
	Set_Pixel(9+numled,0,153,153);
	Set_Pixel(10+numled,102,0,204);
	Set_Pixel(11+numled,204,0,0);
	for(uint16_t j=12;j<=15;j++){
		Set_Pixel(j+numled,0,0,0);
	}
	break;
case 5:
	Set_Pixel(0+numled,0,76,153);
	Set_Pixel(1+numled,0,153,153);
	Set_Pixel(2+numled,102,0,204);
	Set_Pixel(3+numled,204,0,0);
	Set_Pixel(4+numled,204,0,0);
	for(uint16_t j=5;j<=7;j++){
		Set_Pixel(j+numled,0,0,0);
	}
	Set_Pixel(8+numled,0,76,153);
	Set_Pixel(9+numled,0,153,153);
	Set_Pixel(10+numled,102,0,204);
	Set_Pixel(11+numled,204,0,0);
	Set_Pixel(12+numled,204,0,0);
	for(uint16_t j=13;j<=15;j++){
		Set_Pixel(j+numled,0,0,0);
	}
	break;
case 6:
	Set_Pixel(0+numled,0,76,153);
	Set_Pixel(1+numled,0,153,153);
	Set_Pixel(2+numled,102,0,204);
	Set_Pixel(3+numled,204,0,0);
	Set_Pixel(4+numled,204,0,0);
	Set_Pixel(5+numled,255,255,51);
	for(uint16_t j=6;j<=7;j++){
		Set_Pixel(j+numled,0,0,0);
	}
	Set_Pixel(8+numled,0,76,153);
	Set_Pixel(9+numled,0,153,153);
	Set_Pixel(10+numled,102,0,204);
	Set_Pixel(11+numled,204,0,0);
	Set_Pixel(12+numled,204,0,0);
	Set_Pixel(13+numled,255,255,51);
	for(uint16_t j=14;j<=15;j++){
		Set_Pixel(j+numled,0,0,0);
	}
	break;
case 7:
	Set_Pixel(0+numled,0,76,153);
	Set_Pixel(1+numled,0,153,153);
	Set_Pixel(2+numled,102,0,204);
	Set_Pixel(3+numled,204,0,0);
	Set_Pixel(4+numled,204,0,0);
	Set_Pixel(5+numled,255,255,51);
	Set_Pixel(6+numled,0,204,0);
	Set_Pixel(7+numled,0,0,0);
	Set_Pixel(8+numled,0,76,153);
	Set_Pixel(9+numled,0,153,153);
	Set_Pixel(10+numled,102,0,204);
	Set_Pixel(11+numled,204,0,0);
	Set_Pixel(12+numled,204,0,0);
	Set_Pixel(13+numled,255,255,51);
	Set_Pixel(14+numled,0,204,0);
	Set_Pixel(15+numled,0,0,0);
	break;
case 8:
	Set_Pixel(0+numled,0,76,153);
	Set_Pixel(1+numled,0,153,153);
	Set_Pixel(2+numled,102,0,204);
	Set_Pixel(3+numled,204,0,0);
	Set_Pixel(4+numled,204,0,0);
	Set_Pixel(5+numled,255,255,51);
	Set_Pixel(6+numled,0,204,0);
	Set_Pixel(7+numled,0,204,0);
	Set_Pixel(8+numled,0,76,153);
	Set_Pixel(9+numled,0,153,153);
	Set_Pixel(10+numled,102,0,204);
	Set_Pixel(11+numled,204,0,0);
	Set_Pixel(12+numled,204,0,0);
	Set_Pixel(13+numled,255,255,51);
	Set_Pixel(14+numled,0,204,0);
	Set_Pixel(15+numled,0,204,0);
	break;
}

}

	//Esta  funcion es solo para probar
	uint16_t Step=0;
	int paso=0;

	uint8_t arcoiris() {
	    // Strip ID: 0 - Effect: Rainbow - LEDS: 64
	    // Steps: 106 - Delay: 27
	    // Colors: 3 (255.0.0, 0.255.0, 0.0.255)
	    // Options: rainbowlen=158, toLeft=true,
	  float factor1, factor2;
	  uint16_t ind;
	  for(uint16_t j=0;j<128;j++) {
	    ind = Step + j * 0.6708860759493671;
	    switch((int)((ind % 300) / 35.333333333333336)) {
	      case 0: factor1 = 1.0 - ((float)(ind % 106 - 0 * 35.333333333333336) / 35.333333333333336);
	              factor2 = (float)((int)(ind - 0) % 106) / 35.333333333333336;
	              Set_Pixel((j)%Num_pixels, 255 * factor1 ,  255 * factor2, 0);
	              Set_Brillo(20);
	              Enviar_datos();
	              break;
	      case 1: factor1 = 1.0 - ((float)(ind % 106 - 1 * 35.333333333333336) / 35.333333333333336);
	              factor2 = (float)((int)(ind - 35.333333333333336) % 106) / 35.333333333333336;
	              Set_Pixel((j)%Num_pixels, 0, 255 * factor1 ,  255 * factor2);
	              Set_Brillo(20);
	              Enviar_datos();
	              break;
	      case 2: factor1 = 1.0 - ((float)(ind % 106 - 2 * 35.333333333333336) / 35.333333333333336);
	              factor2 = (float)((int)(ind - 70.66) % 106) / 35.333333333333336;
	              Set_Pixel((j)%Num_pixels,  255 * factor2, 0, 255 * factor1);
	              Set_Brillo(20);
	              Enviar_datos();
	              break;
	    }
	  }
	  if(Step >= 300) {Step=0;; return 0x03; }
	  else Step++;
	  return 0x01;
	}
	uint8_t caso=0;
	void HAL_TIM_PeriodElapsedCallback(TIM_HandleTypeDef *htim){

		switch(caso)
		{
		case 0:	vumetro(2,2,2,2,2,2,2,2);
		Set_Brillo(brillo);
		Enviar_datos();
		break;
		case 1: vumetro(3,3,3,3,3,3,3,3);
		Set_Brillo(brillo);
		Enviar_datos();
		break;
		case 2:
		vumetro(4,4,4,4,4,4,4,4);
		Set_Brillo(brillo);
		Enviar_datos();
		break;
		case 3:	vumetro(5,5,5,5,5,5,5,5);
		Set_Brillo(brillo);
		Enviar_datos();
		break;
		case 4:	vumetro(6,6,6,6,6,6,6,6);
		Set_Brillo(brillo);
		Enviar_datos();
		break;
		case 5:	vumetro(7,7,7,7,7,7,7,7);
		Set_Brillo(brillo);
		Enviar_datos();
		break;
		case 6: vumetro(8,8,8,8,8,8,8,8);
		Set_Brillo(brillo);
		Enviar_datos();
		break;

		}
		caso = (caso+1)%7;

	}

/* USER CODE END 0 */

int main(void)
{

  /* MCU Configuration--------------------------------------------------------*/

  /* Reset of all peripherals, Initializes the Flash interface and the Systick. */
  HAL_Init();

  /* Configure the system clock */
  SystemClock_Config();

  /* Initialize all configured peripherals */
  MX_GPIO_Init();
  MX_DMA_Init();
  MX_TIM3_Init();
  MX_TIM4_Init();
  /* USER CODE BEGIN 2 */
  HAL_TIM_Base_Start_IT(&htim3);
  /* USER CODE END 2 */

  /* Infinite loop */
  /* USER CODE BEGIN WHILE */

	  //arcoiris();
	  //Esto no se debe hacer, convendria hacerlo por interrupciones, es para probar
/*
	  for (int j=0; j<Num_pixels;j++)
	  {
	  Set_Pixel(j,0,255,255);
	  }
	  float brillo = 45;
      Set_Brillo(brillo);
	  Enviar_datos();
	  HAL_Delay(3000);

     for (int i=45; i>=0;i--)
     {
    	 Set_Brillo(i);
    	 Enviar_datos();
    	 HAL_Delay(20);
     }

     for (int i=0; i<=45;i++)
     {
    	 Set_Brillo(i);
    	 Enviar_datos();
    	 HAL_Delay(20);
     }
     for (int i=45; i>=0;i--)
     {
    	 Set_Brillo(i);
    	 Enviar_datos();
    	 HAL_Delay(20);
     }
	  for (int j=0; j<Num_pixels;j++)
	  {
	  Set_Pixel(j,255,0,255);
	  }

     for (int i=0; i<=45;i++)
     {
    	 Set_Brillo(i);
    	 Enviar_datos();
    	 HAL_Delay(20);
     }
     for (int i=45; i>=0;i--)
     {
    	 Set_Brillo(i);
    	 Enviar_datos();
    	 HAL_Delay(20);
     }
	  for (int j=0; j<Num_pixels;j++)
	  {
	  Set_Pixel(j,0,0,255);
	  }
     for (int i=0; i<=45;i++)
     {
    	 Set_Brillo(i);
    	 Enviar_datos();
    	 HAL_Delay(20);
     }
	 HAL_Delay(3000);
	 while(1)
	 {
	 arcoiris();
	 if(paso>64){paso=0;
	 }
	 else{
	 paso++;
	 }
	 HAL_Delay(20);
	 }
*/

while(1)
{
	/*
	vumetro(2,4,6,7);
	float brillo =10;
	Set_Brillo(brillo);
	Enviar_datos();
	HAL_Delay(41);
	vumetro(1,3,5,8);
	Set_Brillo(brillo);
	Enviar_datos();
	HAL_Delay(41);
	vumetro(1,5,1,5);
	Set_Brillo(brillo);
	Enviar_datos();
	HAL_Delay(41);
	vumetro(2,1,3,4);
	Set_Brillo(brillo);
	Enviar_datos();
	HAL_Delay(41);
	vumetro(8,7,6,2);
	Set_Brillo(brillo);
	Enviar_datos();
	HAL_Delay(41);
	vumetro(1,2,3,4);
	Set_Brillo(brillo);
	Enviar_datos();
	HAL_Delay(41);
	vumetro(1,3,6,2);
	Set_Brillo(brillo);
	Enviar_datos();
	HAL_Delay(41);
	vumetro(1,3,5,8);
	Set_Brillo(brillo);
	Enviar_datos();
	HAL_Delay(41);
	vumetro(1,5,1,5);
	Set_Brillo(brillo);
	Enviar_datos();
	HAL_Delay(41);
	vumetro(2,1,3,4);
	Set_Brillo(brillo);
	Enviar_datos();
	HAL_Delay(41);
	vumetro(8,7,6,2);
	Set_Brillo(brillo);
	Enviar_datos();
	HAL_Delay(41);
	vumetro(1,2,3,4);
	Set_Brillo(brillo);
	Enviar_datos();
	HAL_Delay(41);
	vumetro(1,3,6,2);
	Set_Brillo(brillo);
	Enviar_datos();
	HAL_Delay(41);
	vumetro(1,3,5,8);
	Set_Brillo(brillo);
	Enviar_datos();
	HAL_Delay(41);
	vumetro(1,5,1,5);
	Set_Brillo(brillo);
	Enviar_datos();
	HAL_Delay(41);
	vumetro(2,1,3,4);
	Set_Brillo(brillo);
	Enviar_datos();
	HAL_Delay(41);
	vumetro(8,7,6,2);
	Set_Brillo(brillo);
	Enviar_datos();
	HAL_Delay(41);
	vumetro(1,2,3,4);
	Set_Brillo(brillo);
	Enviar_datos();
	HAL_Delay(41);
	vumetro(1,3,6,2);
	Set_Brillo(brillo);
	Enviar_datos();
	HAL_Delay(41);
	vumetro(8,7,6,2);
	Set_Brillo(brillo);
	Enviar_datos();
	HAL_Delay(41);
	vumetro(1,2,3,4);
	Set_Brillo(brillo);
	Enviar_datos();
	HAL_Delay(41);
	vumetro(1,3,6,2);
	Set_Brillo(brillo);
	Enviar_datos();
	HAL_Delay(41);
	vumetro(1,3,5,8);
	Set_Brillo(brillo);
	Enviar_datos();
	HAL_Delay(41);
	vumetro(1,5,1,5);
	Set_Brillo(brillo);
	Enviar_datos();
	HAL_Delay(41);
	vumetro(2,1,3,4);
	Set_Brillo(brillo);
	Enviar_datos();
	HAL_Delay(41);
	vumetro(8,7,6,2);
	Set_Brillo(brillo);
	Enviar_datos();
	HAL_Delay(41);
	vumetro(1,2,3,4);
	Set_Brillo(brillo);
	Enviar_datos();
	HAL_Delay(41);
	vumetro(1,3,6,2);
	Set_Brillo(brillo);
	Enviar_datos();
	HAL_Delay(41);
	vumetro(1,3,5,8);
	Set_Brillo(brillo);
	Enviar_datos();
	HAL_Delay(41);
	vumetro(1,5,1,5);
	Set_Brillo(brillo);
	Enviar_datos();
	HAL_Delay(41);
	vumetro(2,1,3,4);
	Set_Brillo(brillo);
	Enviar_datos();
	HAL_Delay(41);
	vumetro(8,7,6,2);
	Set_Brillo(brillo);
	Enviar_datos();
	HAL_Delay(41);
	vumetro(1,2,3,4);
	Set_Brillo(brillo);
	Enviar_datos();
	HAL_Delay(41);
	vumetro(1,3,6,2);
	Set_Brillo(brillo);
	Enviar_datos();
	HAL_Delay(41);
	vumetro(8,7,6,2);
	Set_Brillo(brillo);
	Enviar_datos();
	HAL_Delay(41);
	vumetro(1,2,3,4);
	Set_Brillo(brillo);
	Enviar_datos();
	HAL_Delay(41);
	vumetro(1,3,6,2);
	Set_Brillo(brillo);
	Enviar_datos();
	HAL_Delay(41);
	vumetro(1,3,5,8);
	Set_Brillo(brillo);
	Enviar_datos();
	HAL_Delay(41);
	vumetro(1,5,1,5);
	Set_Brillo(brillo);
	Enviar_datos();
	HAL_Delay(41);
	vumetro(2,1,3,4);
	Set_Brillo(brillo);
	Enviar_datos();
	HAL_Delay(41);
	vumetro(8,7,6,2);
	Set_Brillo(brillo);
	Enviar_datos();
	HAL_Delay(41);
	vumetro(1,2,3,4);
	Set_Brillo(brillo);
	Enviar_datos();
	HAL_Delay(41);
	vumetro(1,3,6,2);
	Set_Brillo(brillo);
	Enviar_datos();
	HAL_Delay(41);
	vumetro(1,3,5,8);
	Set_Brillo(brillo);
	Enviar_datos();
	HAL_Delay(41);
	vumetro(1,5,1,5);
	Set_Brillo(brillo);
	Enviar_datos();
	HAL_Delay(41);
	vumetro(2,1,3,4);
	Set_Brillo(brillo);
	Enviar_datos();
	HAL_Delay(41);
	vumetro(8,7,6,2);
	Set_Brillo(brillo);
	Enviar_datos();
	HAL_Delay(41);
	vumetro(1,2,3,4);
	Set_Brillo(brillo);
	Enviar_datos();
	HAL_Delay(41);
	vumetro(1,3,6,2);
	Set_Brillo(brillo);
	Enviar_datos();
	HAL_Delay(41);
	*/
/*	  for (int j=0; j<(Num_pixels/2)-1;j++)
	  {
	  Set_Pixel(j,0,255,0);
	  }
	  for (int j=(Num_pixels/2); j<Num_pixels;j++)
	  {
	  Set_Pixel(j,0,0,255);
	  }
	  float brillo = 20;
      //Set_Brillo(brillo);
	  Enviar_datos();
	  */
}
//Aca una forma de hacer un fade para probar
/*
 * for (int i=45; i>=0; i--)
 * {
 * Set_brillo = i;
 * Enviar_datos();
 * HAL_Delay(50);
 * }
 */
    /* USER CODE END WHILE */

}

void SystemClock_Config(void)
{
  RCC_OscInitTypeDef RCC_OscInitStruct = {0};
  RCC_ClkInitTypeDef RCC_ClkInitStruct = {0};

  /** Configure the main internal regulator output voltage
  */
  __HAL_RCC_PWR_CLK_ENABLE();
  __HAL_PWR_VOLTAGESCALING_CONFIG(PWR_REGULATOR_VOLTAGE_SCALE1);

  /** Initializes the RCC Oscillators according to the specified parameters
  * in the RCC_OscInitTypeDef structure.
  */
  RCC_OscInitStruct.OscillatorType = RCC_OSCILLATORTYPE_HSE;
  RCC_OscInitStruct.HSEState = RCC_HSE_ON;
  RCC_OscInitStruct.PLL.PLLState = RCC_PLL_ON;
  RCC_OscInitStruct.PLL.PLLSource = RCC_PLLSOURCE_HSE;
  RCC_OscInitStruct.PLL.PLLM = 4;
  RCC_OscInitStruct.PLL.PLLN = 192;
  RCC_OscInitStruct.PLL.PLLP = RCC_PLLP_DIV4;
  RCC_OscInitStruct.PLL.PLLQ = 8;
  if (HAL_RCC_OscConfig(&RCC_OscInitStruct) != HAL_OK)
  {
    Error_Handler();
  }

  /** Initializes the CPU, AHB and APB buses clocks
  */
  RCC_ClkInitStruct.ClockType = RCC_CLOCKTYPE_HCLK|RCC_CLOCKTYPE_SYSCLK
                              |RCC_CLOCKTYPE_PCLK1|RCC_CLOCKTYPE_PCLK2;
  RCC_ClkInitStruct.SYSCLKSource = RCC_SYSCLKSOURCE_PLLCLK;
  RCC_ClkInitStruct.AHBCLKDivider = RCC_SYSCLK_DIV1;
  RCC_ClkInitStruct.APB1CLKDivider = RCC_HCLK_DIV2;
  RCC_ClkInitStruct.APB2CLKDivider = RCC_HCLK_DIV1;

  if (HAL_RCC_ClockConfig(&RCC_ClkInitStruct, FLASH_LATENCY_3) != HAL_OK)
  {
    Error_Handler();
  }
}

static void MX_TIM3_Init(void)
{

  TIM_ClockConfigTypeDef sClockSourceConfig = {0};
  TIM_MasterConfigTypeDef sMasterConfig = {0};

  htim3.Instance = TIM3;
  htim3.Init.Prescaler = 48000;
  htim3.Init.CounterMode = TIM_COUNTERMODE_UP;
  htim3.Init.Period = 332-1;
  htim3.Init.ClockDivision = TIM_CLOCKDIVISION_DIV1;
  htim3.Init.AutoReloadPreload = TIM_AUTORELOAD_PRELOAD_DISABLE;
  if (HAL_TIM_Base_Init(&htim3) != HAL_OK)
  {
    Error_Handler();
  }
  sClockSourceConfig.ClockSource = TIM_CLOCKSOURCE_INTERNAL;
  if (HAL_TIM_ConfigClockSource(&htim3, &sClockSourceConfig) != HAL_OK)
  {
    Error_Handler();
  }
  sMasterConfig.MasterOutputTrigger = TIM_TRGO_RESET;
  sMasterConfig.MasterSlaveMode = TIM_MASTERSLAVEMODE_DISABLE;
  if (HAL_TIMEx_MasterConfigSynchronization(&htim3, &sMasterConfig) != HAL_OK)
  {
    Error_Handler();
  }

}

static void MX_TIM4_Init(void)
{

  TIM_ClockConfigTypeDef sClockSourceConfig = {0};
  TIM_MasterConfigTypeDef sMasterConfig = {0};
  TIM_OC_InitTypeDef sConfigOC = {0};

  htim4.Instance = TIM4;
  htim4.Init.Prescaler = 0;
  htim4.Init.CounterMode = TIM_COUNTERMODE_UP;
  htim4.Init.Period = 120-1;
  htim4.Init.ClockDivision = TIM_CLOCKDIVISION_DIV1;
  htim4.Init.AutoReloadPreload = TIM_AUTORELOAD_PRELOAD_DISABLE;
  if (HAL_TIM_Base_Init(&htim4) != HAL_OK)
  {
    Error_Handler();
  }
  sClockSourceConfig.ClockSource = TIM_CLOCKSOURCE_INTERNAL;
  if (HAL_TIM_ConfigClockSource(&htim4, &sClockSourceConfig) != HAL_OK)
  {
    Error_Handler();
  }
  if (HAL_TIM_PWM_Init(&htim4) != HAL_OK)
  {
    Error_Handler();
  }
  sMasterConfig.MasterOutputTrigger = TIM_TRGO_RESET;
  sMasterConfig.MasterSlaveMode = TIM_MASTERSLAVEMODE_DISABLE;
  if (HAL_TIMEx_MasterConfigSynchronization(&htim4, &sMasterConfig) != HAL_OK)
  {
    Error_Handler();
  }
  sConfigOC.OCMode = TIM_OCMODE_PWM1;
  sConfigOC.Pulse = 0;
  sConfigOC.OCPolarity = TIM_OCPOLARITY_HIGH;
  sConfigOC.OCFastMode = TIM_OCFAST_DISABLE;
  if (HAL_TIM_PWM_ConfigChannel(&htim4, &sConfigOC, TIM_CHANNEL_2) != HAL_OK)
  {
    Error_Handler();
  }
  HAL_TIM_MspPostInit(&htim4);

}

static void MX_DMA_Init(void)
{

  /* DMA controller clock enable */
  __HAL_RCC_DMA1_CLK_ENABLE();

  /* DMA interrupt init */
  /* DMA1_Stream3_IRQn interrupt configuration */
  HAL_NVIC_SetPriority(DMA1_Stream3_IRQn, 0, 0);
  HAL_NVIC_EnableIRQ(DMA1_Stream3_IRQn);

}

static void MX_GPIO_Init(void)
{
  GPIO_InitTypeDef GPIO_InitStruct = {0};

  /* GPIO Ports Clock Enable */
  __HAL_RCC_GPIOC_CLK_ENABLE();
  __HAL_RCC_GPIOH_CLK_ENABLE();
  __HAL_RCC_GPIOA_CLK_ENABLE();
  __HAL_RCC_GPIOD_CLK_ENABLE();
  __HAL_RCC_GPIOB_CLK_ENABLE();

  /*Configure GPIO pin Output Level */
  HAL_GPIO_WritePin(OTG_FS_PowerSwitchOn_GPIO_Port, OTG_FS_PowerSwitchOn_Pin, GPIO_PIN_SET);

  /*Configure GPIO pin Output Level */
  HAL_GPIO_WritePin(GPIOD, LD4_Pin|LD3_Pin|LD5_Pin|LD6_Pin, GPIO_PIN_RESET);

  /*Configure GPIO pin : OTG_FS_PowerSwitchOn_Pin */
  GPIO_InitStruct.Pin = OTG_FS_PowerSwitchOn_Pin;
  GPIO_InitStruct.Mode = GPIO_MODE_OUTPUT_PP;
  GPIO_InitStruct.Pull = GPIO_NOPULL;
  GPIO_InitStruct.Speed = GPIO_SPEED_FREQ_LOW;
  HAL_GPIO_Init(OTG_FS_PowerSwitchOn_GPIO_Port, &GPIO_InitStruct);

  /*Configure GPIO pin : PA0 */
  GPIO_InitStruct.Pin = GPIO_PIN_0;
  GPIO_InitStruct.Mode = GPIO_MODE_EVT_RISING;
  GPIO_InitStruct.Pull = GPIO_NOPULL;
  HAL_GPIO_Init(GPIOA, &GPIO_InitStruct);

  /*Configure GPIO pins : LD4_Pin LD3_Pin LD5_Pin LD6_Pin */
  GPIO_InitStruct.Pin = LD4_Pin|LD3_Pin|LD5_Pin|LD6_Pin;
  GPIO_InitStruct.Mode = GPIO_MODE_OUTPUT_PP;
  GPIO_InitStruct.Pull = GPIO_NOPULL;
  GPIO_InitStruct.Speed = GPIO_SPEED_FREQ_LOW;
  HAL_GPIO_Init(GPIOD, &GPIO_InitStruct);

}

void Error_Handler(void)
{
  __disable_irq();
  while (1)
  {
  }
}
